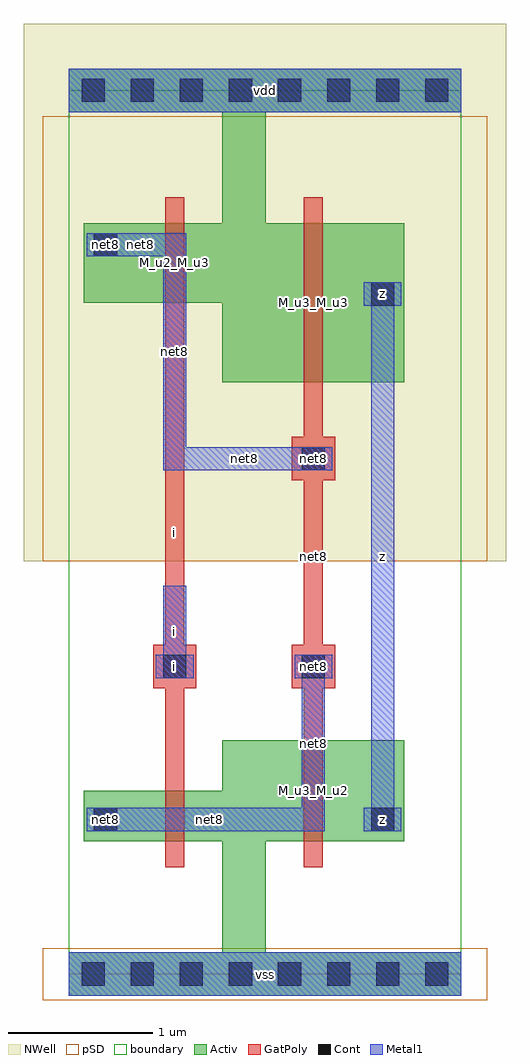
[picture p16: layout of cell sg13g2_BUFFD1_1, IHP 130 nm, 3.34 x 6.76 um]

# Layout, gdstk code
import gdstk
lib = gdstk.Library(unit=1e-6, precision=1e-09)
def R(c, l, rs):  # rectangles x0, y0, x1, y1
    for r in rs: c.add(gdstk.rectangle(r[:2], r[2:], *l))
def A(c, l, x, y, w, h, nx, ny, dx, dy):  # array of equal rectangles
    R(c, l, [(x+i*dx, y+j*dy, x+i*dx+w, y+j*dy+h) for i in range(nx) for j in range(ny)])
Activ = (1, 0)
GatPoly = (5, 0)
Cont = (6, 0)
Metal1 = (8, 0)
pSD = (14, 0)
NWell = (31, 0)
TEXT = (63, 0)
boundary = (189, 4)

sg13g2_buffd1_1 = lib.new_cell('sg13g2_BUFFD1_1')
R(sg13g2_buffd1_1, Activ, [(0,-0.15,2.72,0.15), (1.065,0.15,1.365,1.07), (0.105,0.92,1.365,1.27), (0.105,0.92,0.405,1.22), (1.065,0.92,2.325,1.62), (2.025,0.92,2.325,1.22), (1.065,4.1,2.325,5.2), (2.025,4.56,2.325,4.86), (0.105,4.65,1.365,5.2), (0.105,4.9,0.405,5.2), (1.065,5.05,1.365,5.97), (0,5.97,2.72,6.27)])
R(sg13g2_buffd1_1, GatPoly, [(0.67,0.74,0.8,1.45), (1.63,0.74,1.76,1.8), (0.67,1.005,0.8,5.115), (1.63,1.005,1.76,4.775), (0.585,1.98,0.885,2.28), (1.545,1.98,1.845,2.28), (1.545,3.42,1.845,3.72), (1.63,3.92,1.76,5.38), (0.67,4.47,0.8,5.38)])
A(sg13g2_buffd1_1, Cont, 0.09, -0.08, 0.16, 0.16, 8, 2, 0.34, 6.12)
R(sg13g2_buffd1_1, Cont, [(0.175,0.99,0.335,1.15), (2.095,0.99,2.255,1.15), (0.655,2.05,0.815,2.21), (1.615,2.05,1.775,2.21), (1.615,3.49,1.775,3.65), (2.095,4.63,2.255,4.79), (0.175,4.97,0.335,5.13)])
R(sg13g2_buffd1_1, Metal1, [(0,-0.15,2.72,0.15), (0.125,0.99,0.385,1.15), (0.175,0.99,1.775,1.15), (1.615,0.99,1.775,2.21), (2.045,0.99,2.305,1.15), (2.095,0.99,2.255,4.79), (0.605,2.05,0.865,2.21), (0.655,2.05,0.815,2.69), (1.565,2.05,1.825,2.21), (0.655,3.49,1.775,3.65), (0.655,3.49,0.815,5.13), (1.565,3.49,1.825,3.65), (2.045,4.63,2.305,4.79), (0.125,4.97,0.385,5.13), (0.175,4.97,0.815,5.13), (0,5.97,2.72,6.27)])
R(sg13g2_buffd1_1, pSD, [(-0.18,-0.18,2.9,0.18), (-0.18,2.86,2.9,5.94)])
R(sg13g2_buffd1_1, NWell, [(-0.31,2.86,3.03,6.58)])
R(sg13g2_buffd1_1, boundary, [(0,0,2.72,6.12)])
sg13g2_buffd1_1.add(gdstk.FlexPath([(0.105,0.41),(2.325,0.41)], 0, ends="flush", simple_path=True, layer=63, datatype=0))  # TEXT
sg13g2_buffd1_1.add(gdstk.FlexPath([(0.105,1.07),(2.325,1.07)], 0, ends="flush", simple_path=True, layer=63, datatype=0))  # TEXT
sg13g2_buffd1_1.add(gdstk.FlexPath([(0.105,1.47),(2.325,1.47)], 0, ends="flush", simple_path=True, layer=63, datatype=0))  # TEXT
sg13g2_buffd1_1.add(gdstk.FlexPath([(0.105,2.13),(2.325,2.13)], 0, ends="flush", simple_path=True, layer=63, datatype=0))  # TEXT
sg13g2_buffd1_1.add(gdstk.FlexPath([(0.105,2.61),(2.325,2.61)], 0, ends="flush", simple_path=True, layer=63, datatype=0))  # TEXT
sg13g2_buffd1_1.add(gdstk.FlexPath([(0.105,3.09),(2.325,3.09)], 0, ends="flush", simple_path=True, layer=63, datatype=0))  # TEXT
sg13g2_buffd1_1.add(gdstk.FlexPath([(0.105,3.57),(2.325,3.57)], 0, ends="flush", simple_path=True, layer=63, datatype=0))  # TEXT
sg13g2_buffd1_1.add(gdstk.FlexPath([(0.105,4.25),(2.325,4.25)], 0, ends="flush", simple_path=True, layer=63, datatype=0))  # TEXT
sg13g2_buffd1_1.add(gdstk.FlexPath([(0.105,4.71),(2.325,4.71)], 0, ends="flush", simple_path=True, layer=63, datatype=0))  # TEXT
sg13g2_buffd1_1.add(gdstk.FlexPath([(0.105,5.05),(2.325,5.05)], 0, ends="flush", simple_path=True, layer=63, datatype=0))  # TEXT
sg13g2_buffd1_1.add(gdstk.FlexPath([(0.105,5.71),(2.325,5.71)], 0, ends="flush", simple_path=True, layer=63, datatype=0))  # TEXT
sg13g2_buffd1_1.add(gdstk.FlexPath([(0.255,0.15),(0.255,5.97)], 0, ends="flush", simple_path=True, layer=63, datatype=0))  # TEXT
sg13g2_buffd1_1.add(gdstk.FlexPath([(0.735,0.15),(0.735,5.97)], 0, ends="flush", simple_path=True, layer=63, datatype=0))  # TEXT
sg13g2_buffd1_1.add(gdstk.FlexPath([(1.215,0.15),(1.215,5.97)], 0, ends="flush", simple_path=True, layer=63, datatype=0))  # TEXT
sg13g2_buffd1_1.add(gdstk.FlexPath([(1.695,0.15),(1.695,5.97)], 0, ends="flush", simple_path=True, layer=63, datatype=0))  # TEXT
sg13g2_buffd1_1.add(gdstk.FlexPath([(2.175,0.15),(2.175,5.97)], 0, ends="flush", simple_path=True, layer=63, datatype=0))  # TEXT
sg13g2_buffd1_1.add(gdstk.Label('z', (2.175,1.07), layer=6, texttype=0))
sg13g2_buffd1_1.add(gdstk.Label('z', (2.175,4.71), layer=6, texttype=0))
sg13g2_buffd1_1.add(gdstk.Label('net8', (0.255,1.07), layer=6, texttype=0))
sg13g2_buffd1_1.add(gdstk.Label('net8', (0.255,5.05), layer=6, texttype=0))
sg13g2_buffd1_1.add(gdstk.Label('net8', (1.695,3.57), layer=6, texttype=0))
sg13g2_buffd1_1.add(gdstk.Label('net8', (1.695,2.13), layer=6, texttype=0))
sg13g2_buffd1_1.add(gdstk.Label('i', (0.735,2.13), layer=6, texttype=0))
sg13g2_buffd1_1.add(gdstk.Label('net8', (0.255,1.07), layer=8, texttype=0))
sg13g2_buffd1_1.add(gdstk.Label('net8', (0.255,5.05), layer=8, texttype=0))
sg13g2_buffd1_1.add(gdstk.Label('net8', (1.695,3.57), layer=8, texttype=0))
sg13g2_buffd1_1.add(gdstk.Label('net8', (1.215,3.57), layer=8, texttype=0))
sg13g2_buffd1_1.add(gdstk.Label('net8', (0.735,4.31), layer=8, texttype=0))
sg13g2_buffd1_1.add(gdstk.Label('net8', (0.495,5.05), layer=8, texttype=0))
sg13g2_buffd1_1.add(gdstk.Label('net8', (0.975,1.07), layer=8, texttype=0))
sg13g2_buffd1_1.add(gdstk.Label('net8', (1.695,1.6), layer=8, texttype=0))
sg13g2_buffd1_1.add(gdstk.Label('net8', (1.695,2.13), layer=8, texttype=0))
sg13g2_buffd1_1.add(gdstk.Label('z', (2.175,1.07), layer=8, texttype=25))
sg13g2_buffd1_1.add(gdstk.Label('z', (2.175,4.71), layer=8, texttype=25))
sg13g2_buffd1_1.add(gdstk.Label('z', (2.175,2.89), layer=8, texttype=25))
sg13g2_buffd1_1.add(gdstk.Label('i', (0.735,2.13), layer=8, texttype=25))
sg13g2_buffd1_1.add(gdstk.Label('i', (0.735,2.37), layer=8, texttype=25))
sg13g2_buffd1_1.add(gdstk.Label('vss', (1.36,0), layer=8, texttype=25))
sg13g2_buffd1_1.add(gdstk.Label('vdd', (1.36,6.12), layer=8, texttype=25))
sg13g2_buffd1_1.add(gdstk.Label('M_u3_M_u2', (1.695,1.27), layer=1, texttype=0))
sg13g2_buffd1_1.add(gdstk.Label('M_u2_M_u2', (0.735,1.095), layer=1, texttype=0))
sg13g2_buffd1_1.add(gdstk.Label('M_u3_M_u3', (1.695,4.65), layer=1, texttype=0))
sg13g2_buffd1_1.add(gdstk.Label('M_u2_M_u3', (0.735,4.925), layer=1, texttype=0))
sg13g2_buffd1_1.add(gdstk.Label('z', (2.175,1.07), layer=1, texttype=0))
sg13g2_buffd1_1.add(gdstk.Label('z', (2.175,4.71), layer=1, texttype=0))
sg13g2_buffd1_1.add(gdstk.Label('net8', (0.255,1.07), layer=1, texttype=0))
sg13g2_buffd1_1.add(gdstk.Label('net8', (0.255,5.05), layer=1, texttype=0))
sg13g2_buffd1_1.add(gdstk.Label('net8', (1.695,2.89), layer=5, texttype=0))
sg13g2_buffd1_1.add(gdstk.Label('net8', (1.695,3.57), layer=5, texttype=0))
sg13g2_buffd1_1.add(gdstk.Label('net8', (1.695,2.13), layer=5, texttype=0))
sg13g2_buffd1_1.add(gdstk.Label('i', (0.735,3.06), layer=5, texttype=0))
sg13g2_buffd1_1.add(gdstk.Label('i', (0.735,2.13), layer=5, texttype=0))

lib.write_gds('sg13g2_BUFFD1_1.gds')
